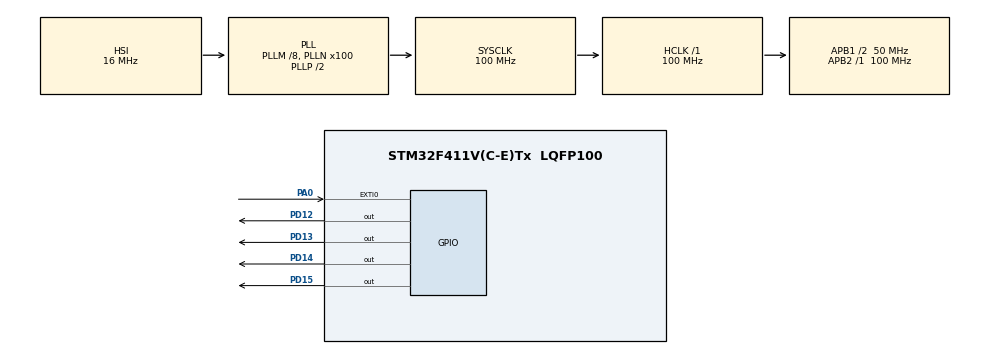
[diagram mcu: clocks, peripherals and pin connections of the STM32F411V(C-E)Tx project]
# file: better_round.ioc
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Mcu.Family=STM32F4
Mcu.Name=STM32F411V(C-E)Tx
Mcu.Package=LQFP100
NVIC.EXTI0_IRQn=true\:0\:0\:false\:false\:true
NVIC.PriorityGroup=NVIC_PRIORITYGROUP_4
NVIC.TIM1_UP_TIM10_IRQn=true\:0\:0\:false\:false\:true
PA0-WKUP.GPIO_ModeDefaultEXTI=GPIO_MODE_IT_RISING
PA0-WKUP.Signal=GPXTI0
PD12.Signal=GPIO_Output
PD13.Signal=GPIO_Output
PD14.Signal=GPIO_Output
PD15.Signal=GPIO_Output
ProjectManager.HeapSize=0x200
ProjectManager.StackSize=0x400
ProjectManager.TargetToolchain=SW4STM32
RCC.48MHZClocksFreq_Value=50000000
RCC.AHBFreq_Value=100000000
RCC.APB1CLKDivider=RCC_HCLK_DIV2
RCC.APB1Freq_Value=50000000
RCC.APB1TimFreq_Value=100000000
RCC.APB2Freq_Value=100000000
RCC.APB2TimFreq_Value=100000000
RCC.CortexFreq_Value=100000000
RCC.HCLKFreq_Value=100000000
RCC.HSE_VALUE=25000000
RCC.HSI_VALUE=16000000
RCC.LSE_VALUE=32768
RCC.PLLM=8
RCC.PLLN=100
RCC.SYSCLKFreq_VALUE=100000000
RCC.SYSCLKSource=RCC_SYSCLKSOURCE_PLLCLK
RCC.VCOOutputFreq_Value=200000000
TIM10.Period=4999
TIM10.Prescaler=9999
VP_TIM10_VS_ClockSourceINT.Mode=Enable_Timer
board=better_round

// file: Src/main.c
/**
  ******************************************************************************
  * File Name          : main.c
  * Description        : Main program body
  ******************************************************************************
  *
  * COPYRIGHT(c) 2016 STMicroelectronics
  *
  * Redistribution and use in source and binary forms, with or without modification,
  * are permitted provided that the following conditions are met:
  *   1. Redistributions of source code must retain the above copyright notice,
  *      this list of conditions and the following disclaimer.
  *   2. Redistributions in binary form must reproduce the above copyright notice,
  *      this list of conditions and the following disclaimer in the documentation
  *      and/or other materials provided with the distribution.
  *   3. Neither the name of STMicroelectronics nor the names of its contributors
  *      may be used to endorse or promote products derived from this software
  *      without specific prior written permission.
  *
  * THIS SOFTWARE IS PROVIDED BY THE COPYRIGHT HOLDERS AND CONTRIBUTORS "AS IS"
  * AND ANY EXPRESS OR IMPLIED WARRANTIES, INCLUDING, BUT NOT LIMITED TO, THE
  * IMPLIED WARRANTIES OF MERCHANTABILITY AND FITNESS FOR A PARTICULAR PURPOSE ARE
  * DISCLAIMED. IN NO EVENT SHALL THE COPYRIGHT HOLDER OR CONTRIBUTORS BE LIABLE
  * FOR ANY DIRECT, INDIRECT, INCIDENTAL, SPECIAL, EXEMPLARY, OR CONSEQUENTIAL
  * DAMAGES (INCLUDING, BUT NOT LIMITED TO, PROCUREMENT OF SUBSTITUTE GOODS OR
  * SERVICES; LOSS OF USE, DATA, OR PROFITS; OR BUSINESS INTERRUPTION) HOWEVER
  * CAUSED AND ON ANY THEORY OF LIABILITY, WHETHER IN CONTRACT, STRICT LIABILITY,
  * OR TORT (INCLUDING NEGLIGENCE OR OTHERWISE) ARISING IN ANY WAY OUT OF THE USE
  * OF THIS SOFTWARE, EVEN IF ADVISED OF THE POSSIBILITY OF SUCH DAMAGE.
  *
  ******************************************************************************
  */
#include "main.h"
#include "stm32f4xx_hal.h"

TIM_HandleTypeDef htim10;

/* USER CODE BEGIN PV */
/* Private variables ---------------------------------------------------------*/
unsigned static int cnt = 128;
static char normal=0;
uint16_t pin_table[] = {GPIO_PIN_12, GPIO_PIN_13, GPIO_PIN_14, GPIO_PIN_15};
/* USER CODE END PV */

void SystemClock_Config(void);
void Error_Handler(void);
static void MX_GPIO_Init(void);
static void MX_TIM10_Init(void);

/* USER CODE BEGIN PFP */
/* Private function prototypes -----------------------------------------------*/
void HAL_TIM_PeriodElapsedCallback(TIM_HandleTypeDef *htim);
void HAL_GPIO_EXTI_Callback(uint16_t GPIO_Pin);
/* USER CODE END PFP */

int main(void)
{

  /* MCU Configuration----------------------------------------------------------*/

  /* Reset of all peripherals, Initializes the Flash interface and the Systick. */
  HAL_Init();

  /* Configure the system clock */
  SystemClock_Config();

  /* Initialize all configured peripherals */
  MX_GPIO_Init();
  MX_TIM10_Init();

  /* USER CODE BEGIN 2 */
  HAL_TIM_Base_Start_IT(&htim10);
  /* USER CODE END 2 */

  /* Infinite loop */
  while (1)
  {

  }

}

/** System Clock Configuration
*/
void SystemClock_Config(void)
{

  RCC_OscInitTypeDef RCC_OscInitStruct;
  RCC_ClkInitTypeDef RCC_ClkInitStruct;

    /**Configure the main internal regulator output voltage
    */
  __HAL_RCC_PWR_CLK_ENABLE();

  __HAL_PWR_VOLTAGESCALING_CONFIG(PWR_REGULATOR_VOLTAGE_SCALE1);

    /**Initializes the CPU, AHB and APB busses clocks
    */
  RCC_OscInitStruct.OscillatorType = RCC_OSCILLATORTYPE_HSI;
  RCC_OscInitStruct.HSIState = RCC_HSI_ON;
  RCC_OscInitStruct.HSICalibrationValue = 16;
  RCC_OscInitStruct.PLL.PLLState = RCC_PLL_ON;
  RCC_OscInitStruct.PLL.PLLSource = RCC_PLLSOURCE_HSI;
  RCC_OscInitStruct.PLL.PLLM = 8;
  RCC_OscInitStruct.PLL.PLLN = 100;
  RCC_OscInitStruct.PLL.PLLP = RCC_PLLP_DIV2;
  RCC_OscInitStruct.PLL.PLLQ = 4;
  if (HAL_RCC_OscConfig(&RCC_OscInitStruct) != HAL_OK)
  {
    Error_Handler();
  }

    /**Initializes the CPU, AHB and APB busses clocks
    */
  RCC_ClkInitStruct.ClockType = RCC_CLOCKTYPE_HCLK|RCC_CLOCKTYPE_SYSCLK
                              |RCC_CLOCKTYPE_PCLK1|RCC_CLOCKTYPE_PCLK2;
  RCC_ClkInitStruct.SYSCLKSource = RCC_SYSCLKSOURCE_PLLCLK;
  RCC_ClkInitStruct.AHBCLKDivider = RCC_SYSCLK_DIV1;
  RCC_ClkInitStruct.APB1CLKDivider = RCC_HCLK_DIV2;
  RCC_ClkInitStruct.APB2CLKDivider = RCC_HCLK_DIV1;

  if (HAL_RCC_ClockConfig(&RCC_ClkInitStruct, FLASH_LATENCY_3) != HAL_OK)
  {
    Error_Handler();
  }

    /**Configure the Systick interrupt time
    */
  HAL_SYSTICK_Config(HAL_RCC_GetHCLKFreq()/1000);

    /**Configure the Systick
    */
  HAL_SYSTICK_CLKSourceConfig(SYSTICK_CLKSOURCE_HCLK);

  /* SysTick_IRQn interrupt configuration */
  HAL_NVIC_SetPriority(SysTick_IRQn, 0, 0);
}

/* TIM10 init function */
static void MX_TIM10_Init(void)
{

  htim10.Instance = TIM10;
  htim10.Init.Prescaler = 9999;
  htim10.Init.CounterMode = TIM_COUNTERMODE_UP;
  htim10.Init.Period = 4999;
  htim10.Init.ClockDivision = TIM_CLOCKDIVISION_DIV1;
  if (HAL_TIM_Base_Init(&htim10) != HAL_OK)
  {
    Error_Handler();
  }

}

/** Configure pins as
        * Analog
        * Input
        * Output
        * EVENT_OUT
        * EXTI
*/
static void MX_GPIO_Init(void)
{

  GPIO_InitTypeDef GPIO_InitStruct;

  /* GPIO Ports Clock Enable */
  __HAL_RCC_GPIOA_CLK_ENABLE();
  __HAL_RCC_GPIOD_CLK_ENABLE();

  /*Configure GPIO pin : PA0 */
  GPIO_InitStruct.Pin = GPIO_PIN_0;
  GPIO_InitStruct.Mode = GPIO_MODE_IT_RISING;
  GPIO_InitStruct.Pull = GPIO_NOPULL;
  HAL_GPIO_Init(GPIOA, &GPIO_InitStruct);

  /*Configure GPIO pins : PD12 PD13 PD14 PD15 */
  GPIO_InitStruct.Pin = GPIO_PIN_12|GPIO_PIN_13|GPIO_PIN_14|GPIO_PIN_15;
  GPIO_InitStruct.Mode = GPIO_MODE_OUTPUT_PP;
  GPIO_InitStruct.Pull = GPIO_NOPULL;
  GPIO_InitStruct.Speed = GPIO_SPEED_FREQ_LOW;
  HAL_GPIO_Init(GPIOD, &GPIO_InitStruct);

  /*Configure GPIO pin Output Level */
  HAL_GPIO_WritePin(GPIOD, GPIO_PIN_12|GPIO_PIN_13|GPIO_PIN_14|GPIO_PIN_15, GPIO_PIN_RESET);

  /* EXTI interrupt init*/
  HAL_NVIC_SetPriority(EXTI0_IRQn, 0, 0);
  HAL_NVIC_EnableIRQ(EXTI0_IRQn);

}

/* USER CODE BEGIN 4 */
	void HAL_TIM_PeriodElapsedCallback(TIM_HandleTypeDef *htim){
		if(htim->Instance==TIM10){
			HAL_GPIO_TogglePin(GPIOD, pin_table[cnt%4]);
					if(normal) {cnt++;}
					else {cnt--;}
		}
	}

	void HAL_GPIO_EXTI_Callback(uint16_t GPIO_Pin){
		if(GPIO_Pin==GPIO_PIN_0){
			if (normal==0) {
						normal=1;
					}
					else {
						normal=0;
					}
			for(int i=0; i<=sizeof(pin_table)/sizeof(*pin_table); i++) {
				HAL_GPIO_WritePin(GPIOD, pin_table[i], GPIO_PIN_RESET);
			}
		}

	}
/* USER CODE END 4 */

void Error_Handler(void)
{
  while(1)
  {
  }
}

/************************ (C) COPYRIGHT STMicroelectronics *****END OF FILE****/
